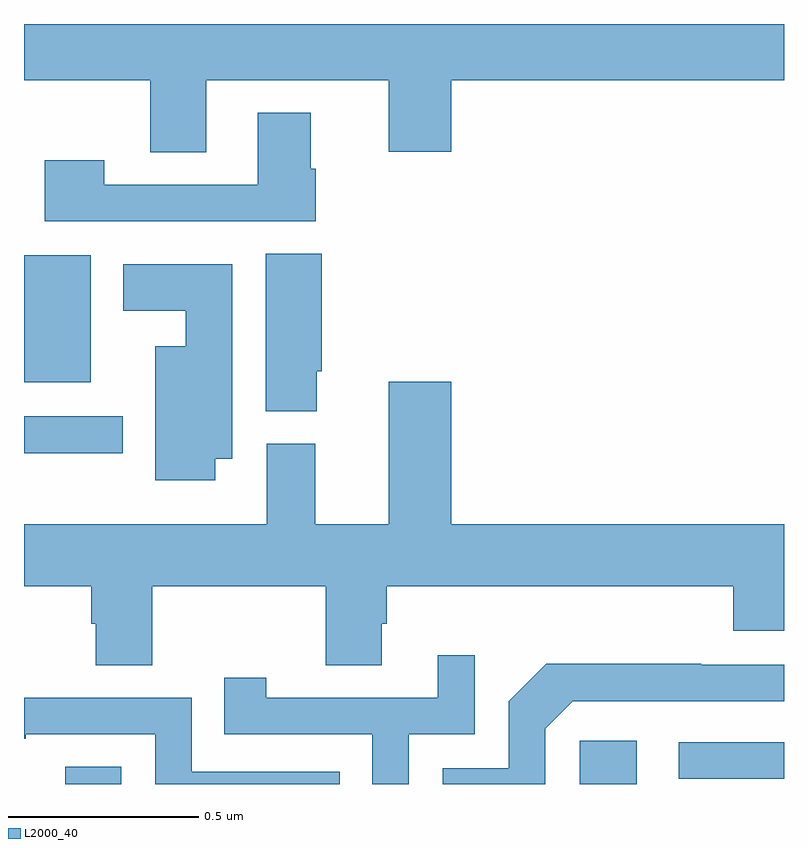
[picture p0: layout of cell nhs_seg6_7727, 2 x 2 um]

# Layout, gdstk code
import gdstk
lib = gdstk.Library(unit=1e-6, precision=1e-09)
def R(c, l, rs):  # rectangles x0, y0, x1, y1
    for r in rs: c.add(gdstk.rectangle(r[:2], r[2:], *l))
def P(c, l, *ps):  # polygons
    for p in ps: c.add(gdstk.Polygon(p, *l))
L2000_40 = (2000, 40)

nhs_seg6_7727 = lib.new_cell('nhs_seg6_7727')
R(nhs_seg6_7727, L2000_40, [(212.109,929.5,212.256,929.545), (213.462,929.5,213.613,929.614), (213.723,929.514,214,929.61), (212,930.371,212.26,930.468), (212,930.557,212.176,930.892)])
P(nhs_seg6_7727, L2000_40, [(212.479,931.352),(212.96,931.352),(212.96,931.164),(213.124,931.164),(213.124,931.352),(214,931.352),(214,931.5),(212,931.5),(212,931.352),(212.332,931.352),(212.332,931.162),(212.479,931.162)],
  [(212.768,931.119),(212.755,931.119),(212.755,931.267),(212.615,931.267),(212.615,931.077),(212.211,931.077),(212.211,931.141),(212.055,931.141),(212.055,930.981),(212.768,930.981)],
  [(212.77,930.586),(212.783,930.586),(212.783,930.896),(212.636,930.896),(212.636,930.481),(212.77,930.481)],
  [(212.503,930.356),(212.548,930.356),(212.548,930.868),(212.261,930.868),(212.261,930.746),(212.426,930.746),(212.426,930.652),(212.345,930.652),(212.345,930.3),(212.503,930.3)],
  [(212,930.02),(212.177,930.02),(212.177,929.922),(212.189,929.922),(212.189,929.812),(212.337,929.812),(212.337,930.02),(212.794,930.02),(212.794,929.812),(212.941,929.812),(212.941,929.922),(212.954,929.922),(212.954,930.02),(213.866,930.02),(213.866,929.903),(214,929.903),(214,930.184),(213.124,930.184),(213.124,930.559),(212.96,930.559),(212.96,930.184),(212.767,930.184),(212.767,930.396),(212.639,930.396),(212.639,930.184),(212,930.184)],
  [(213.012,929.631),(213.186,929.631),(213.186,929.839),(213.089,929.839),(213.089,929.727),(212.638,929.727),(212.638,929.779),(212.527,929.779),(212.527,929.631),(212.916,929.631),(212.916,929.5),(213.012,929.5)],
  [(213.372,929.646),(213.444,929.718),(214,929.718),(214,929.814),(213.782,929.814),(213.782,929.816),(213.374,929.816),(213.276,929.718),(213.276,929.541),(213.102,929.541),(213.102,929.5),(213.372,929.5)],
  [(212.831,929.532),(212.442,929.532),(212.442,929.727),(212,929.727),(212,929.619),(212.005,929.619),(212.005,929.631),(212.346,929.631),(212.346,929.5),(212.831,929.5)])

lib.write_gds('nhs_seg6_7727.gds')
